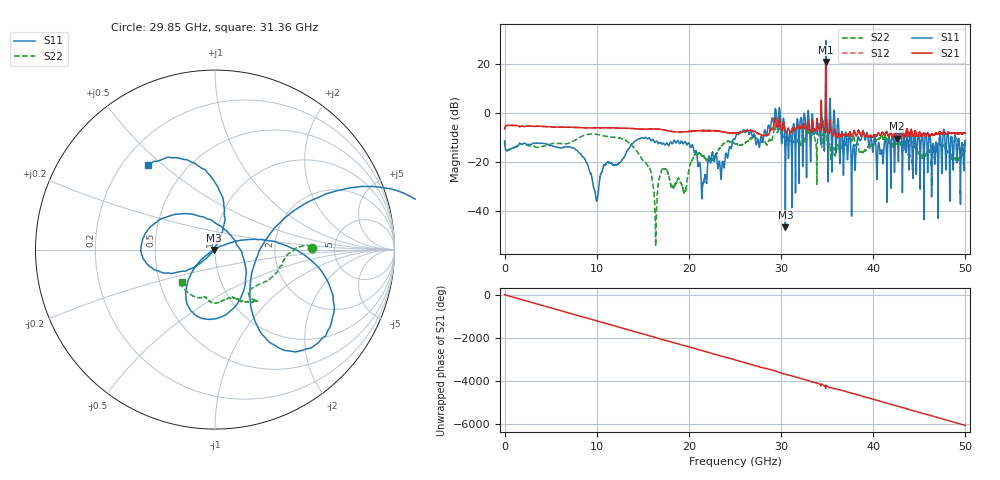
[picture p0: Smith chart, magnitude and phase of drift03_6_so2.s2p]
!Created with skrf (http://scikit-rf.org).
# Hz S RI R 50.0
!freq ReS11 ImS11 ReS21 ImS21 ReS12 ImS12 ReS22 ImS22
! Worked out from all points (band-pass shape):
!   10001 points, 300 kHz to 50 GHz, reference 50 ohm
!   highest |S21| = 20.73 dB at 34.85 GHz (marker M1); lowest = -10.4 dB at 42.56 GHz (marker M2)
!   |S21| within 3 dB of the highest: 34.84252 GHz to 34.84688 GHz (4.359 MHz wide, 0.0125 % of centre)
!   lowest |S11| = -46.5 dB at 30.47 GHz (marker M3), VSWR 1.01, Z = 49.6 - j0.15 ohm
!   |S11| at or under -10 dB: start of sweep to 15.22 GHz; 15.31 GHz to 25.05 GHz (9.739 GHz wide, 48.3 % of centre); 40.22 GHz to 41.66 GHz (1.448 GHz wide, 3.54 % of centre) (the widest 3 of 61)
!   |S22| runs from -54.2 to 12.1 dB; largest |S21 - S12| = 1.6
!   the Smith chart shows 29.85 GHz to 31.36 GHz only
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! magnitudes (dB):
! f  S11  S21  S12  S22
! 300 kHz  -11.4  -6.5  -6.4  -11.4
! 8.335 GHz  -17.1  -6.0  -6.0  -9.6
! 9.955 GHz  -35.5  -6.1  -6.1  -8.7
! 11 GHz  -20.9  -6.1  -6.1  -9.5
! 15.49 GHz  -10.5  -6.6  -6.6  -21.3
! 16.36 GHz  -12.0  -6.5  -6.5  -45.5
! 16.67 GHz  -12.4  -6.6  -6.5  -29.1
! 17.32 GHz  -12.6  -6.9  -6.9  -22.9
! 19.53 GHz  -11.8  -7.7  -7.7  -32.0
! 20.21 GHz  -14.0  -7.4  -7.5  -20.2
! 21.56 GHz  -28.5  -7.2  -7.2  -17.7
! 25 GHz  -10.6  -8.3  -8.3  -12.5
! 29.6 GHz  -5.6  -5.7  -5.9  -7.8
! 30.47 GHz  -46.5  -7.3  -7.2  -9.1
! 33.34 GHz  -3.7  -6.9  -6.8  -9.5
! 34.85 GHz  29.5  20.7  20.6  12.1
! 35.63 GHz  -6.1  -9.2  -9.2  -15.7
! 37.84 GHz  -13.3  -8.1  -8.2  -9.8
! 39.06 GHz  -10.1  -9.3  -9.5  -15.4
! 41.67 GHz  -10.1  -9.6  -9.5  -11.4
! 42.56 GHz  -8.5  -10.4  -10.5  -13.0
! 50 GHz  -11.4  -8.2  -8.2  -15.5
